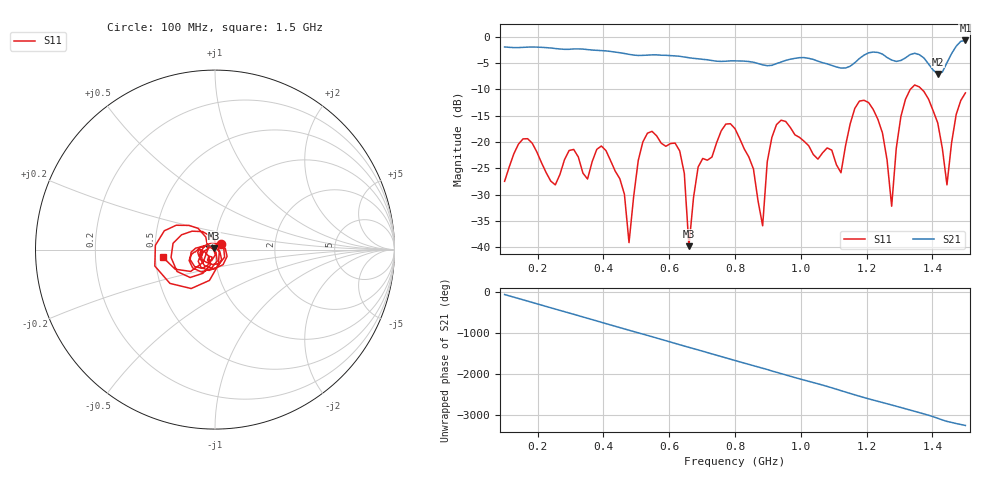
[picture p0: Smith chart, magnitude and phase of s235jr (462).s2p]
! NanoVNA-App
! Date: 2025-09-25 15:07:45
! Start: 100MHz Stop: 1,5GHz Points: 101
! S-Parameter data: F S11 S21 S12 S22
# Hz S RI R 50
!  Frequency  S11_Real  S11_Imag  S21_Real  S21_Imag  S12_Real  S12_Imag  S22_Real  S22_Imag
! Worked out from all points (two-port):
!   101 points, 100 MHz to 1.5 GHz, reference 50 ohm
!   highest |S21| = -0.73 dB at 1.5 GHz (marker M1); lowest = -7.1 dB at 1.416 GHz (marker M2)
!   |S21| within 3 dB of the highest: start of sweep to 631 MHz; 1.187 GHz to 1.257 GHz (69.57 MHz wide, 5.69 % of centre) (the widest 2 of 4)
!   lowest |S11| = -39.8 dB at 660 MHz (marker M3), VSWR 1.02, Z = 49.2 + j0.605 ohm
!   |S11| at or under -10 dB: start of sweep to 1.333 GHz; 1.367 GHz to end of sweep
!   S12 and S22 are empty: the file has one direction only
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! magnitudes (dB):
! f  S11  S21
! 100 MHz  -27.5  -2.0
! 156 MHz  -19.4  -2.0
! 338 MHz  -25.9  -2.4
! 408 MHz  -21.6  -2.7
! 478 MHz  -39.1  -3.4
! 520 MHz  -20.0  -3.6
! 576 MHz  -20.2  -3.5
! 632 MHz  -21.7  -3.7
! 660 MHz  -39.8  -4.0
! 688 MHz  -24.8  -4.2
! 800 MHz  -17.5  -4.6
! 884 MHz  -35.9  -5.4
! 926 MHz  -16.7  -5.1
! 1.038 GHz  -22.4  -4.3
! 1.122 GHz  -25.8  -6.0
! 1.206 GHz  -12.5  -3.1
! 1.248 GHz  -18.3  -3.3
! 1.276 GHz  -32.2  -4.4
! 1.332 GHz  -10.1  -3.4
! 1.416 GHz  -16.4  -7.1
! 1.444 GHz  -28.1  -5.0
! 1.5 GHz  -10.7  -0.7
